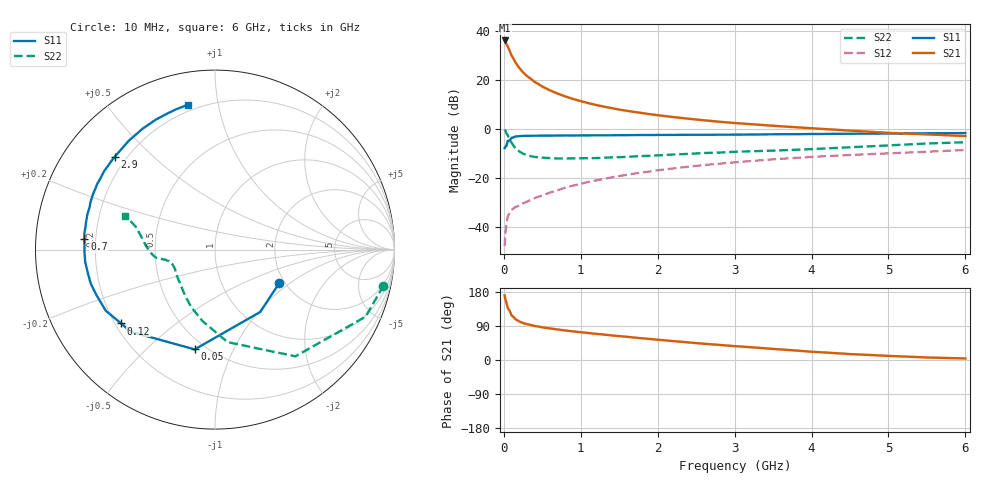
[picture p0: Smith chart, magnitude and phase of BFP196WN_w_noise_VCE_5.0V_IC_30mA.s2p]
! (c) 2017  Infineon Technologies AG, Munich
! Infineon Technologies  Discrete & RF Semiconductors
! BFP196WN
! VCE =  5.0 V,  IC =  30 mA
! Common Emitter S-Parameters:  Jan 2017
# GHz  S  MA  R  50
!  f  S11  S21  S12  S22
! GHz  MAG  ANG  MAG  ANG  MAG  ANG  MAG  ANG
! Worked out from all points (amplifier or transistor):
!   77 points, 10 MHz to 6 GHz, reference 50 ohm
!   highest |S21| = 36.1 dB at 10 MHz (marker M1)
!   |S21| within 3 dB of that: start of sweep to 58.6 MHz
!   unconditionally stable (mu >= 1): 811.2 MHz to 2.638 GHz
!   at 130 MHz: K = 0.41, MSG = 30.4 dB, |S12| = -32.4 dB
!   at 2.2 GHz: K = 1.02, MAG = 9.6 dB, |S12| = -16.2 dB
!   at 6 GHz: K = 0.90, MSG = 2.8 dB, |S12| = -8.6 dB
!   lowest NFmin = 1.06 dB at 450 MHz
!   S11 on the Smith chart (normalised r, x): 10 MHz: 1.86, -0.84; 50 MHz: 0.44, -0.72; 120 MHz: 0.22, -0.33; 700 MHz: 0.16, +0.04; 2.9 GHz: 0.16, +0.38; 6 GHz: 0.17, +0.82
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0.01  0.4036 -27.9  64.1 170.5  0.004 79.6  0.9601 -12.1
0.02  0.4294 -54.1  60.15 160.1  0.0073 74.4  0.9183 -24.0
0.05  0.5673 -101.5  48.58 137.6  0.0161 55.4  0.7446 -53.0
0.1  0.6542 -135.5  31.69 117.7  0.0221 46.7  0.5203 -82.2
0.12  0.6657 -141.8  28.08 114.5  0.0233 44.9  0.4687 -88.3
0.15  0.6974 -150.8  22.9 107.8  0.0252 42.6  0.404 -100.0
0.2  0.7077 -159.1  17.63 101.8  0.0269 45.0  0.3462 -112.5
0.25  0.7175 -164.7  14.31 97.6  0.0301 46.4  0.312 -121.2
0.3  0.72 -168.9  12.05 94.6  0.0325 48.2  0.2884 -128.6
0.4  0.7265 -174.6  9.127 89.8  0.0384 53.9  0.2668 -138.2
0.5  0.7272 -178.6  7.323 86.3  0.0436 56.8  0.258 -145.3
0.6  0.7278 178.1  6.125 83.2  0.0499 59.1  0.2521 -150.4
0.7  0.7299 175.3  5.245 80.6  0.0557 61.2  0.2482 -153.8
0.9  0.7322 170.4  4.082 75.5  0.0693 63.5  0.2493 -158.4
1.1  0.7355 166.4  3.351 71.2  0.0822 64.3  0.2516 -161.8
1.5  0.7424 159.3  2.481 63.1  0.1086 64.5  0.2637 -166.0
2.1  0.7513 149.4  1.821 51.8  0.1486 62.0  0.2928 -169.3
2.9  0.7609 137.2  1.357 38.2  0.2001 57.0  0.3336 -172.6
3.1  0.7636 134.2  1.283 35.3  0.2128 55.5  0.3435 -174.3
4.1  0.7864 119.6  1.006 20.7  0.2718 47.6  0.3921 175.2
5.1  0.8042 108.7  0.815 10.0  0.3206 40.2  0.4673 163.4
6  0.8204 100.6  0.712 4.1  0.3696 34.1  0.5328 159.7
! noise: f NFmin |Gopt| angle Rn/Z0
0.45  1.06  0.46  178  0.04
0.9  1.19  0.52  184  0.05
1.9  2.13  0.68  211  0.13
2.4  2.86  0.69  218  0.24
